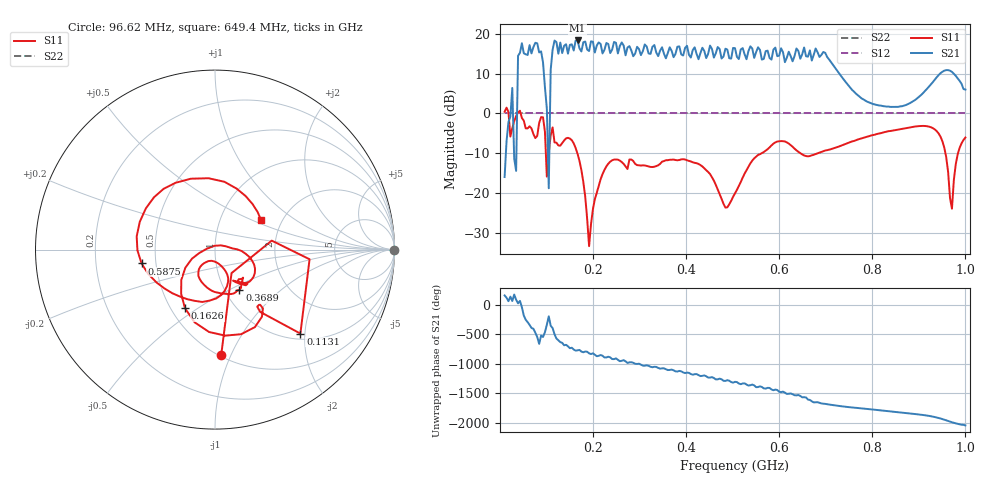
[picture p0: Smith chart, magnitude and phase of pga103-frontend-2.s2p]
! Anritsu VNA Master:  Model: MS2024B
! SN:  2417009
! /card0/usr/pga103-frontend-2.s2p
! Existing Calibration Information:
! TYPE:  Current Settings,  Active Cal Settings
! TIME:  09/06/2026 05:18:28 AM,  09/06/2026 05:14:02 AM
! INTERNAL TEMP:  48.0 C,  45.3 C
! # POINTS:  241,  241
! START FREQ:  10.000 MHz,  10.000 MHz
! STOP FREQ:  1.000 GHz,  1.000 GHz
! SOURCE POWER:  Default,  Default
! IFBW:  1 kHz,  1 kHz
! AVG FACTOR:  1 ,  16
! REF PLANE 1:  0 mm,  0 mm
! REF PLANE 2:  0 mm,  0 mm
! CAL TYPE:  1P2P S11,S21,  1P2P S11,S21
! CAL METHOD:  SOLT,  SOLT
! CAL LINE TYPE:  Coax,  Coax
! DUT PORT 1:  N-Conn(M),  N-Conn(M)
! DUT PORT 2:  N-Conn(M),  N-Conn(M)
! CAL STATUS:  OK: Accuracy High,  --
# GHZ S DB R 50.0
! FREQ.GHZ  S11DB  S11A  S21DB  S21A  S12DB  S12A  S22DB  S22A
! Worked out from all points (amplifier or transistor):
!   241 points, 10 MHz to 1 GHz, reference 50 ohm
!   highest |S21| = 18.4 dB at 166.8 MHz (marker M1)
!   |S21| within 3 dB of that: 146.7 MHz to 203.8 MHz (57.11 MHz wide, 32.6 % of centre)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
!   unconditionally stable (mu >= 1): nowhere
!   at 175 MHz: K = 2.96, MSG = 7.8 dB, |S12| = 0.0 dB
!   at 505 MHz: K = 3.41, MSG = 8.2 dB, |S12| = 0.0 dB
!   at 1 GHz: K = 0.73, MSG = 3.0 dB, |S12| = 0.0 dB
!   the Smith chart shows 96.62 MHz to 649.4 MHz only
!   S11 on the Smith chart (normalised r, x): 96.62 MHz: 0.51, -0.92; 113.1 MHz: 1.12, -1.90; 162.6 MHz: 0.59, -0.44; 368.9 MHz: 1.17, -0.56; 587.5 MHz: 0.41, -0.08; 649.4 MHz: 1.57, +0.57
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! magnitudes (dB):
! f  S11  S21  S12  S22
! 10 MHz  0.4  -16.0  0.0  0.0
! 26.5 MHz  -3.7  6.4  0.0  0.0
! 34.75 MHz  -0.6  -14.4  0.0  0.0
! 38.88 MHz  0.2  14.5  0.0  0.0
! 47.12 MHz  -1.1  17.7  0.0  0.0
! 96.62 MHz  -4.6  6.6  0.0  0.0
! 104.9 MHz  -9.9  -18.8  0.0  0.0
! 113.1 MHz  -3.5  16.0  0.0  0.0
! 162.6 MHz  -8.7  18.3  0.0  0.0
! 166.8 MHz  -10.2  18.4  0.0  0.0
! 175 MHz  -14.3  15.6  0.0  0.0
! 191.5 MHz  -33.4  15.7  0.0  0.0
! 232.8 MHz  -12.6  17.5  0.0  0.0
! 340 MHz  -13.1  14.4  0.0  0.0
! 368.9 MHz  -11.6  15.8  0.0  0.0
! 505 MHz  -20.1  16.4  0.0  0.0
! 587.5 MHz  -7.6  16.1  0.0  0.0
! 649.4 MHz  -10.3  14.9  0.0  0.0
! 670 MHz  -10.5  13.3  0.0  0.0
! 835 MHz  -4.5  1.7  0.0  0.0
! 971.1 MHz  -24.0  10.5  0.0  0.0
! 1 GHz  -6.1  6.0  0.0  0.0
